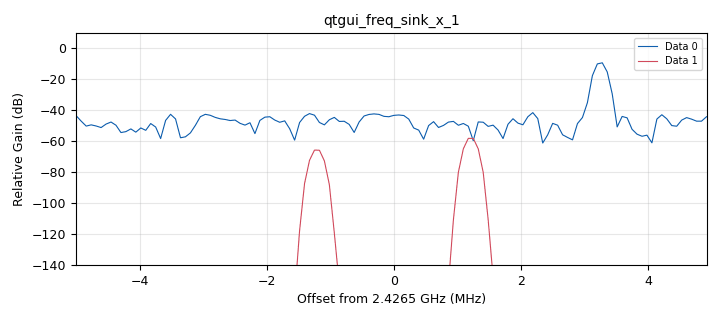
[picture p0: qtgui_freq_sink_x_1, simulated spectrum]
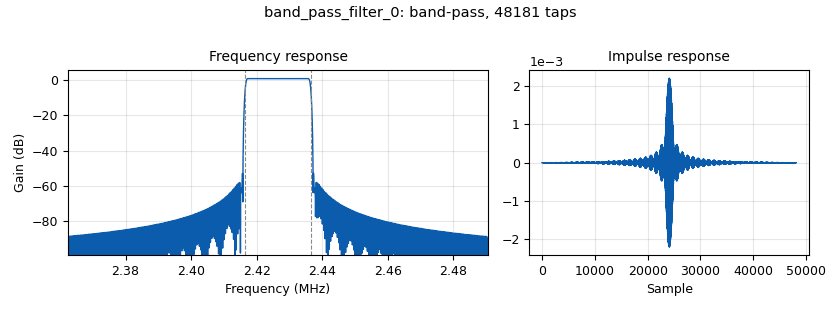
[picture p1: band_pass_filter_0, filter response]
options:
  parameters:
    author: ashwin
    generate_options: qt_gui
    id: tsetbandpass
    output_language: python
    title: Not titled yet
  states: {}

blocks:
- name: samp_rate
  id: variable
  parameters:
    value: 20e6
  states: {}
- name: analog_noise_source_x_0
  id: analog_noise_source_x
  parameters:
    amp: '0.1'
    noise_type: analog.GR_GAUSSIAN
    seed: '0'
    type: complex
  states: {}
- name: analog_sig_source_x_0
  id: analog_sig_source_x
  parameters:
    amp: '1'
    freq: 2426.5e6
    offset: '0'
    phase: '0'
    samp_rate: samp_rate
    type: complex
    waveform: analog.GR_COS_WAVE
  states: {}
- name: band_pass_filter_0
  id: band_pass_filter
  parameters:
    decim: '1'
    gain: '1.1'
    high_cutoff_freq: 2.4365e6
    low_cutoff_freq: 2.4165e6
    samp_rate: samp_rate
    type: fir_filter_ccf
    width: 1e3
    win: window.WIN_HAMMING
  states: {}
- name: blocks_add_xx_0
  id: blocks_add_xx
  parameters:
    type: complex
  states: {}
- name: blocks_throttle_0
  id: blocks_throttle
  parameters:
    samples_per_second: samp_rate
    type: complex
  states: {}
- name: blocks_throttle_0_0
  id: blocks_throttle
  parameters:
    samples_per_second: samp_rate
    type: complex
  states: {}
- name: qtgui_freq_sink_x_1
  id: qtgui_freq_sink_x
  parameters:
    bw: 10e6
    fc: 2426.5e6
    fftsize: '128'
    nconnections: '2'
    type: complex
  states: {}

connections:
- [analog_noise_source_x_0, '0', blocks_throttle_0_0, '0']
- [analog_sig_source_x_0, '0', blocks_throttle_0, '0']
- [band_pass_filter_0, '0', qtgui_freq_sink_x_1, '1']
- [blocks_add_xx_0, '0', band_pass_filter_0, '0']
- [blocks_add_xx_0, '0', qtgui_freq_sink_x_1, '0']
- [blocks_throttle_0, '0', blocks_add_xx_0, '1']
- [blocks_throttle_0_0, '0', blocks_add_xx_0, '0']

metadata:
  file_format: 1
